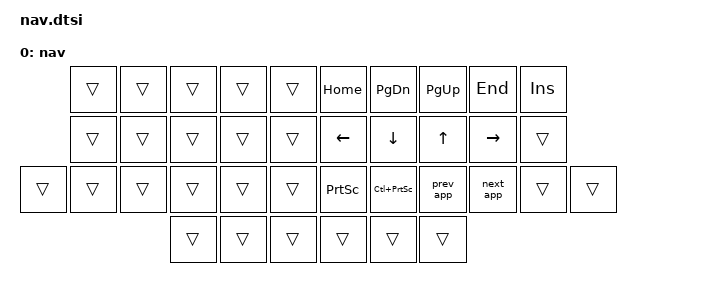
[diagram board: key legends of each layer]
/**
 * Numeric, Navigation and Symbols Layer
 */

/ {
    keymap {
        compatible = "zmk,keymap";

        nav {
            display-name = "nav";
            bindings = <
//                 ╭───────────────┬───────────────┬───────────────┬───────────────┬───────────────╮   ╭───────────────┬───────────────┬───────────────┬───────────────┬───────────────╮
//                 │0              │1              │2              │3              │4              │   │5              │6              │7              │8              │9              │
                    &trans          &trans          &trans          &trans          &trans              &kp HOME        &kp PG_DN       &kp PG_UP       &kp END         &kp INS
//                 ├───────────────┼───────────────┼───────────────┼───────────────┼───────────────┤   ├───────────────├───────────────┼───────────────┼───────────────┼───────────────┤
//                 │10             │11             │12             │13             │14             │   │15             │16             │17             │18             │19             │
                    &trans          &trans          &trans          &trans          &trans              &kp LEFT        &kp DOWN        &kp UP          &kp RIGHT       &trans
// ╭───────────────┬───────────────┼───────────────┼───────────────┼───────────────┼───────────────┤   ├───────────────├───────────────┼───────────────┼───────────────┼───────────────┬───────────────╮
//  20             │21             │22             │23             │24             │25             │   │26             │27             │28             │29             │30             │31             │
    &trans          &trans          &trans          &trans          &trans          &trans              &kp PSCRN       &kp LC(PSCRN)   &prev_app       &next_app       &trans          &trans
// ╰───────────────┴───────────────┴───────────────┼───────────────┼───────────────┼───────────────┤   ├───────────────├───────────────┼───────────────┼───────────────┴───────────────┴───────────────╯
//                                                 │32             │33             │34             │   │35             │36             │37             │
                                                    &trans          &trans          &trans              &trans          &trans          &trans
//                                                 ╰───────────────┴───────────────┴───────────────╯   ╰───────────────┴───────────────┴───────────────╯
            >;
		};
	};
};
